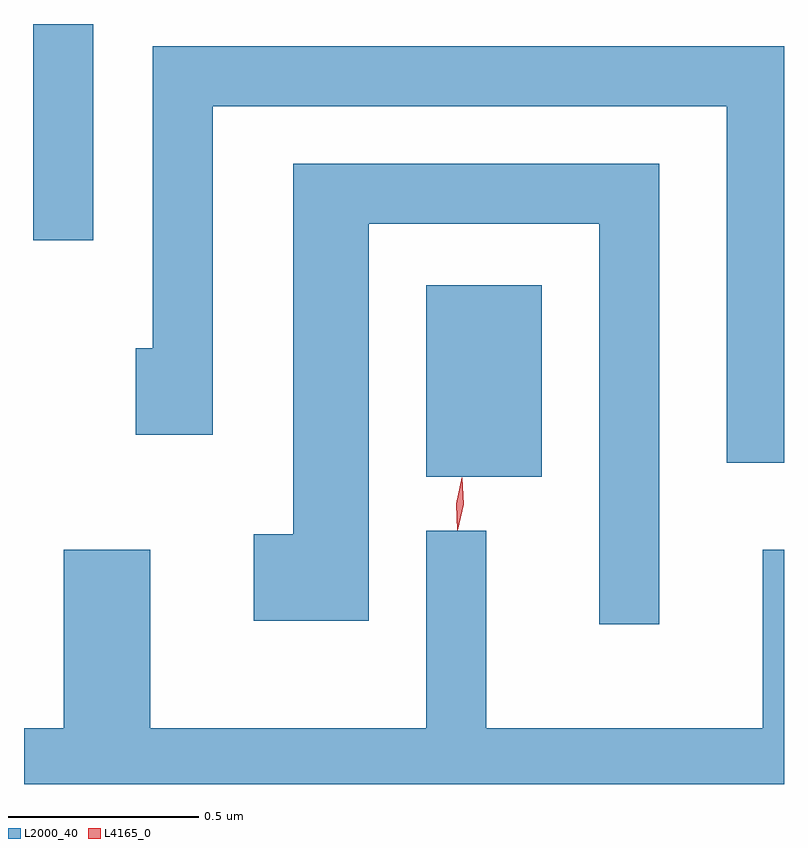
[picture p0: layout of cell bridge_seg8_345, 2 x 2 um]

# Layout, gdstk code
import gdstk
lib = gdstk.Library(unit=1e-6, precision=1e-09)
def R(c, l, rs):  # rectangles x0, y0, x1, y1
    for r in rs: c.add(gdstk.rectangle(r[:2], r[2:], *l))
def P(c, l, *ps):  # polygons
    for p in ps: c.add(gdstk.Polygon(p, *l))
L2000_40 = (2000, 40)
L4165_0 = (4165, 0)

bridge_seg8_345 = lib.new_cell('bridge_seg8_345')
R(bridge_seg8_345, L2000_40, [(896.446,1877.306,896.749,1877.809), (895.411,1877.928,895.569,1878.497)])
P(bridge_seg8_345, L2000_40, [(897.387,1878.439),(895.726,1878.439),(895.726,1877.644),(895.681,1877.644),(895.681,1877.416),(895.884,1877.416),(895.884,1878.281),(897.236,1878.281),(897.236,1877.343),(897.387,1877.343)],
  [(897.059,1878.129),(896.096,1878.129),(896.096,1877.154),(895.991,1877.154),(895.991,1876.926),(896.294,1876.926),(896.294,1877.971),(896.901,1877.971),(896.901,1876.918),(897.059,1876.918)],
  [(897.387,1877.114),(897.331,1877.114),(897.331,1876.644),(896.604,1876.644),(896.604,1877.163),(896.446,1877.163),(896.446,1876.644),(895.719,1876.644),(895.719,1877.114),(895.491,1877.114),(895.491,1876.644),(895.387,1876.644),(895.387,1876.497),(897.387,1876.497)])
P(bridge_seg8_345, L4165_0, [(896.527,1877.165),(896.524,1877.235),(896.539,1877.303),(896.54,1877.303),(896.54,1877.303),(896.544,1877.233),(896.528,1877.165),(896.528,1877.165)],
  [(896.527,1877.168),(896.524,1877.235),(896.539,1877.3),(896.54,1877.3),(896.54,1877.3),(896.544,1877.233),(896.528,1877.168),(896.528,1877.168)])

lib.write_gds('bridge_seg8_345.gds')
